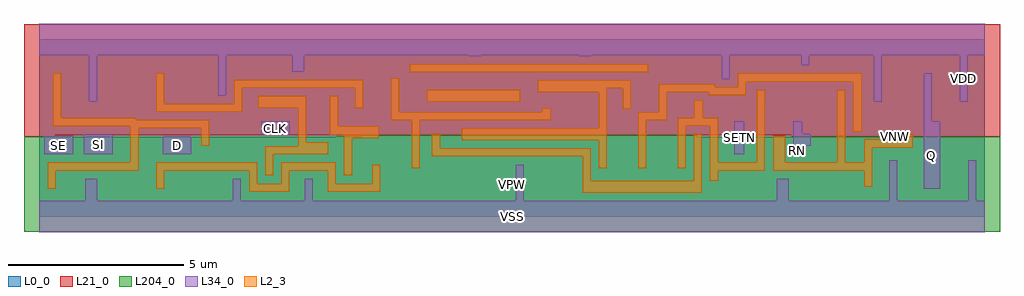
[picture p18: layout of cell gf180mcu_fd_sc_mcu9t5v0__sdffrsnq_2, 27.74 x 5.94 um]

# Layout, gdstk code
import gdstk
lib = gdstk.Library(unit=1e-6, precision=1e-09)
def R(c, l, rs):  # rectangles x0, y0, x1, y1
    for r in rs: c.add(gdstk.rectangle(r[:2], r[2:], *l))
L0_0 = (0, 0)
L2_3 = (2, 3)
L21_0 = (21, 0)
L34_0 = (34, 0)
L204_0 = (204, 0)

gf180mcu_fd_sc_mcu9t5v0_ = lib.new_cell('gf180mcu_fd_sc_mcu9t5v0__sdffrsnq_2')
R(gf180mcu_fd_sc_mcu9t5v0_, L0_0, [(0,0,26.88,5.04)])
R(gf180mcu_fd_sc_mcu9t5v0_, L2_3, [(15.445,0.68,18.835,1.02), (5.965,0.71,7.115,0.94), (8.205,0.71,9.695,0.94), (0.245,0.79,0.475,1.31), (3.325,0.79,3.555,1.31), (23.445,0.845,23.675,1.31), (5.965,0.94,6.195,1.31), (6.885,0.94,7.115,1.31), (8.205,0.94,8.435,1.31), (9.465,0.94,9.695,1.48), (15.445,1.02,15.675,1.71), (18.605,1.02,18.835,2.355), (19.065,1.025,19.295,1.31), (6.425,1.17,6.655,1.77), (8.665,1.17,8.895,2.225), (0.245,1.31,2.825,1.54), (3.325,1.31,6.195,1.54), (6.885,1.31,8.435,1.54), (19.065,1.31,20.63,1.54), (20.86,1.31,23.675,1.54), (10.585,1.37,10.815,2.74), (15.905,1.37,16.135,2.17), (17.025,1.37,17.255,2.74), (18.145,1.37,18.375,2.585), (2.595,1.54,2.825,2.52), (19.065,1.54,19.295,2.585), (20.4,1.54,20.63,3.27), (20.86,1.54,21.2,2.3), (22.685,1.54,22.915,3.61), (23.445,1.54,23.675,1.965), (11.165,1.71,15.675,1.94), (6.425,1.77,8.215,2), (11.165,1.94,11.395,2.355), (23.445,1.965,24.835,2.195), (7.36,2,8.215,2.11), (4.605,2.015,4.835,2.52), (7.36,2.11,7.59,3.095), (12.005,2.17,16.135,2.51), (24.605,2.195,24.835,2.355), (8.665,2.225,9.655,2.335), (8.265,2.335,9.655,2.565), (23.145,2.415,23.375,3.84), (15.905,2.51,16.135,3.535), (2.595,2.52,4.835,2.575), (8.265,2.565,8.495,3.435), (0.395,2.575,4.835,2.75), (18.145,2.585,19.295,2.815), (10.005,2.74,14.535,2.97), (17.025,2.74,17.835,2.97), (0.395,2.75,2.745,2.805), (0.395,2.805,0.625,4.08), (18.625,2.815,18.855,3.305), (10.005,2.97,10.235,3.93), (14.305,2.97,14.535,3.08), (17.605,2.97,17.835,3.535), (3.325,2.98,5.775,3.21), (16.585,3.065,16.815,3.645), (8.985,3.085,9.215,3.665), (6.225,3.095,7.59,3.435), (3.325,3.21,3.555,4.08), (5.545,3.21,5.775,3.665), (11.025,3.27,13.675,3.61), (20.4,3.27,20.645,3.61), (19.035,3.45,20.085,3.535), (14.165,3.535,16.135,3.645), (17.605,3.535,20.085,3.68), (14.165,3.645,16.815,3.875), (5.545,3.665,9.215,3.895), (17.605,3.68,19.215,3.765), (19.855,3.68,20.085,3.84), (19.855,3.84,23.375,4.07), (10.53,4.105,17.31,4.335)])
R(gf180mcu_fd_sc_mcu9t5v0_, L21_0, [(-0.43,2.265,0.43,2.32), (21.385,2.265,27.31,2.32), (-0.43,2.32,27.31,5.47)])
R(gf180mcu_fd_sc_mcu9t5v0_, L34_0, [(0,-0.45,26.88,0.45), (1.31,0.45,1.65,1.075), (5.505,0.45,5.735,1.08), (7.545,0.45,7.775,1.08), (13.545,0.45,13.775,1.48), (20.97,0.45,21.31,1.08), (24.165,0.45,24.395,1.6), (26.405,0.45,26.635,1.6), (25.145,0.79,25.61,2.71), (0.15,1.77,0.97,2.3), (1.27,1.77,2.09,2.345), (3.51,1.77,4.33,2.29), (19.75,1.77,20.04,2.71), (21.43,1.77,21.69,2.015), (21.43,2.015,21.935,2.355), (6.31,2.33,7.13,2.71), (21.43,2.355,21.69,2.71), (25.145,2.71,25.375,4.08), (1.415,3.27,1.645,4.59), (23.725,3.27,23.955,4.59), (26.165,3.27,26.395,4.59), (5.085,3.44,5.315,4.59), (19.395,3.91,19.625,4.59), (7.19,4.125,7.53,4.59), (21.665,4.3,21.895,4.59), (12.21,4.565,12.55,4.59), (15.35,4.565,15.69,4.59), (0,4.59,26.88,5.49)])
R(gf180mcu_fd_sc_mcu9t5v0_, L204_0, [(-0.43,-0.43,27.31,2.265), (8.44,2.265,18.695,2.28), (9.18,2.28,18.695,2.32)])
gf180mcu_fd_sc_mcu9t5v0_.add(gdstk.Label('D', (3.92,2.03), layer=34, texttype=10))
gf180mcu_fd_sc_mcu9t5v0_.add(gdstk.Label('RN', (21.56,1.892), layer=34, texttype=10))
gf180mcu_fd_sc_mcu9t5v0_.add(gdstk.Label('SE', (0.56,2.035), layer=34, texttype=10))
gf180mcu_fd_sc_mcu9t5v0_.add(gdstk.Label('SETN', (19.895,2.24), layer=34, texttype=10))
gf180mcu_fd_sc_mcu9t5v0_.add(gdstk.Label('SI', (1.68,2.057), layer=34, texttype=10))
gf180mcu_fd_sc_mcu9t5v0_.add(gdstk.Label('CLK', (6.72,2.52), layer=34, texttype=10))
gf180mcu_fd_sc_mcu9t5v0_.add(gdstk.Label('Q', (25.377,1.75), layer=34, texttype=10))
gf180mcu_fd_sc_mcu9t5v0_.add(gdstk.Label('VDD', (26.28,3.93), layer=34, texttype=10))
gf180mcu_fd_sc_mcu9t5v0_.add(gdstk.Label('VSS', (13.44,0), layer=34, texttype=10))
gf180mcu_fd_sc_mcu9t5v0_.add(gdstk.Label('VNW', (24.347,2.292), layer=3, texttype=1))
gf180mcu_fd_sc_mcu9t5v0_.add(gdstk.Label('VPW', (13.44,0.917), layer=4, texttype=1))

lib.write_gds('gf180mcu_fd_sc_mcu9t5v0__sdffrsnq_2.gds')
